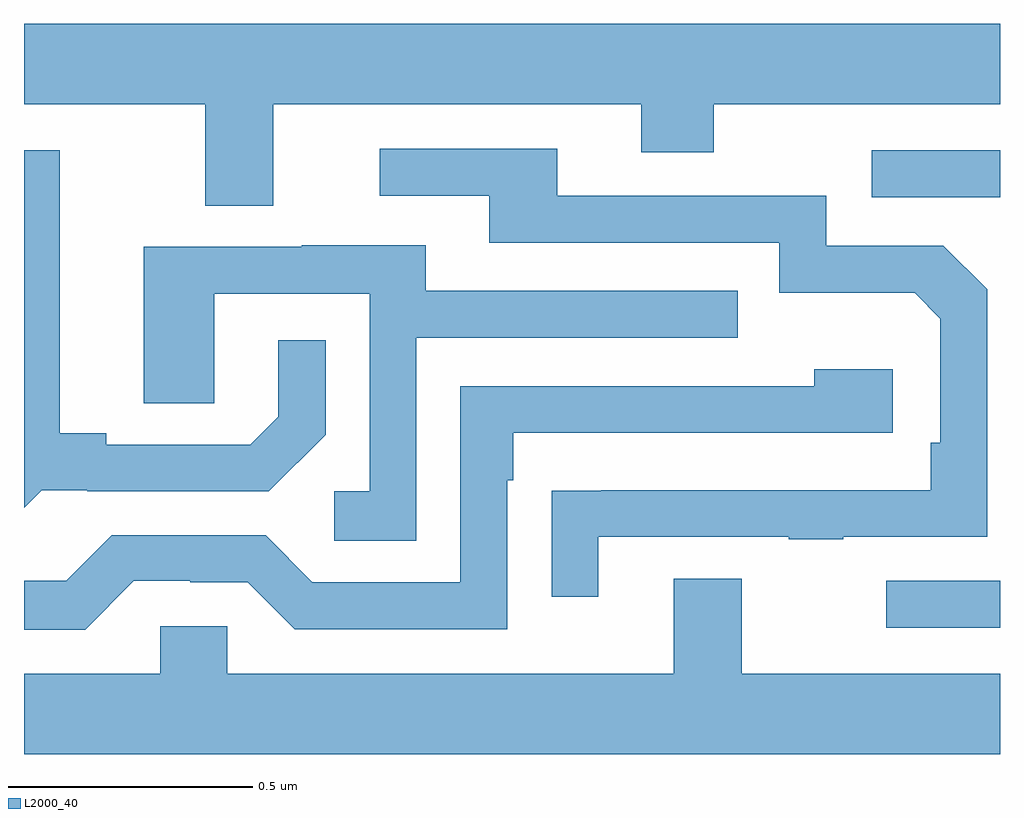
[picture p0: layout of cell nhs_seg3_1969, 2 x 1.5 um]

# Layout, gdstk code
import gdstk
lib = gdstk.Library(unit=1e-6, precision=1e-09)
def R(c, l, rs):  # rectangles x0, y0, x1, y1
    for r in rs: c.add(gdstk.rectangle(r[:2], r[2:], *l))
def P(c, l, *ps):  # polygons
    for p in ps: c.add(gdstk.Polygon(p, *l))
L2000_40 = (2000, 40)

nhs_seg3_1969 = lib.new_cell('nhs_seg3_1969')
R(nhs_seg3_1969, L2000_40, [(136.767,703.839,137,703.935), (136.737,704.721,137,704.817)])
P(nhs_seg3_1969, L2000_40, [(135.511,704.912),(136.265,704.912),(136.265,704.813),(136.413,704.813),(136.413,704.912),(137,704.912),(137,705.076),(135,705.076),(135,704.912),(135.371,704.912),(135.371,704.704),(135.511,704.704)],
  [(136.177,704.025),(136.567,704.025),(136.567,704.02),(136.679,704.02),(136.679,704.025),(136.974,704.025),(136.974,704.532),(136.884,704.622),(136.644,704.622),(136.644,704.724),(136.093,704.724),(136.093,704.82),(135.729,704.82),(135.729,704.724),(135.953,704.724),(135.953,704.628),(136.548,704.628),(136.548,704.525),(136.825,704.525),(136.878,704.472),(136.878,704.218),(136.858,704.218),(136.858,704.121),(136.183,704.121),(136.183,704.12),(136.081,704.12),(136.081,703.902),(136.177,703.902)],
  [(135.036,704.121),(135.13,704.121),(135.13,704.118),(135.502,704.118),(135.618,704.234),(135.618,704.428),(135.521,704.428),(135.521,704.271),(135.464,704.214),(135.169,704.214),(135.169,704.237),(135.073,704.237),(135.073,704.817),(135,704.817),(135,704.085)],
  [(135.804,704.433),(136.463,704.433),(136.463,704.529),(135.823,704.529),(135.823,704.623),(135.569,704.623),(135.569,704.619),(135.245,704.619),(135.245,704.299),(135.39,704.299),(135.39,704.523),(135.708,704.523),(135.708,704.118),(135.636,704.118),(135.636,704.017),(135.804,704.017)],
  [(135.225,703.935),(135.341,703.935),(135.341,703.932),(135.459,703.932),(135.555,703.836),(135.99,703.836),(135.99,704.141),(136.003,704.141),(136.003,704.238),(136.78,704.238),(136.78,704.368),(136.619,704.368),(136.619,704.334),(135.894,704.334),(135.894,703.932),(135.591,703.932),(135.495,704.028),(135.18,704.028),(135.087,703.935),(135,703.935),(135,703.835),(135.125,703.835)],
  [(137,703.744),(136.471,703.744),(136.471,703.939),(136.331,703.939),(136.331,703.744),(135.417,703.744),(135.417,703.842),(135.279,703.842),(135.279,703.744),(135,703.744),(135,703.58),(137,703.58)])

lib.write_gds('nhs_seg3_1969.gds')
